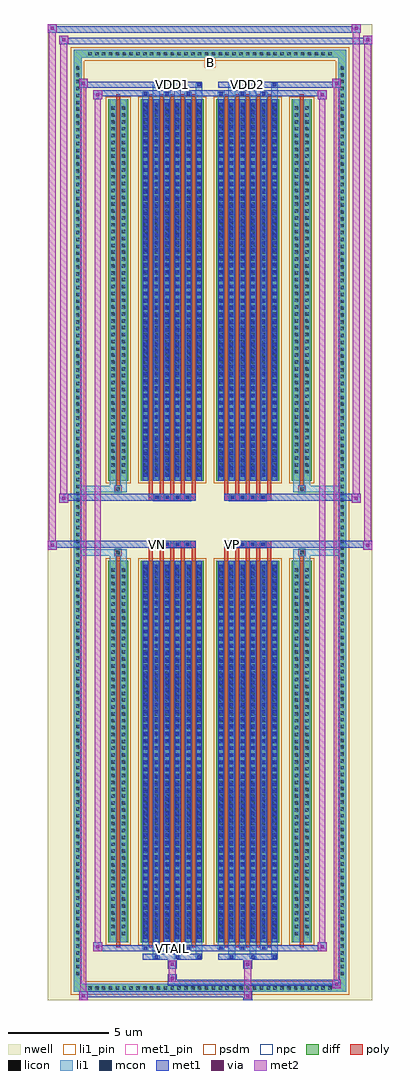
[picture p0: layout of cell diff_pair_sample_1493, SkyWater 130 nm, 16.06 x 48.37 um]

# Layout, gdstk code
import gdstk
lib = gdstk.Library(unit=1e-6, precision=5e-09)
def R(c, l, rs):  # rectangles x0, y0, x1, y1
    for r in rs: c.add(gdstk.rectangle(r[:2], r[2:], *l))
def A(c, l, x, y, w, h, nx, ny, dx, dy):  # array of equal rectangles
    R(c, l, [(x+i*dx, y+j*dy, x+i*dx+w, y+j*dy+h) for i in range(nx) for j in range(ny)])
def P(c, l, *ps):  # polygons
    for p in ps: c.add(gdstk.Polygon(p, *l))
nwell = (64, 20)
diff = (65, 20)
poly = (66, 20)
licon = (66, 44)
li1_pin = (67, 16)
li1 = (67, 20)
mcon = (67, 44)
met1_pin = (68, 16)
met1 = (68, 20)
via = (68, 44)
met2 = (69, 20)
psdm = (94, 20)
npc = (95, 20)

diff_pair_sample_1493 = lib.new_cell('diff_pair_sample_1493')
R(diff_pair_sample_1493, nwell, [(-8.03,-23.75,8.03,24.62), (-5.35,-21.94,-0.01,-0.8), (0.01,-21.94,5.35,-0.8), (-5.35,0.8,-0.01,21.94), (0.01,0.8,5.35,21.94)])
A(diff_pair_sample_1493, diff, -6.155, -23.35, 0.41, 0.41, 36, 2, 0.34, 46.29)
A(diff_pair_sample_1493, diff, -6.76, -22.645, 0.41, 0.41, 1, 133, 0, 0.34)
A(diff_pair_sample_1493, diff, 6.35, -22.645, 0.41, 0.41, 1, 133, 0, 0.34)
R(diff_pair_sample_1493, diff, [(-6.155,-23.35,6.155,-22.94), (-6.76,-22.645,-6.35,22.645), (6.35,-22.645,6.76,22.645), (-5.04,-20.895,-4.06,-1.985), (-3.42,-20.895,-0.32,-1.985), (0.32,-20.895,3.42,-1.985), (4.06,-20.895,5.04,-1.985), (-5.04,1.985,-4.06,20.895), (-3.42,1.985,-0.32,20.895), (0.32,1.985,3.42,20.895), (4.06,1.985,5.04,20.895), (-6.155,22.94,6.155,23.35)])
P(diff_pair_sample_1493, diff, [(6.76,23.35),(-6.76,23.35),(-6.76,-22.94),(-6.35,-22.94),(-6.35,22.94),(6.35,22.94),(6.35,-22.94),(-6.35,-22.94),(-6.76,-22.94),(-6.76,-23.35),(6.76,-23.35)])
A(diff_pair_sample_1493, poly, -3.03, -21.145, 0.2, 19.41, 5, 2, 0.53, 22.88)
A(diff_pair_sample_1493, poly, 0.71, -21.145, 0.2, 19.41, 5, 2, 0.53, 22.88)
A(diff_pair_sample_1493, poly, -3.03, -1.735, 0.2, 0.405, 5, 2, 0.53, 3.065)
A(diff_pair_sample_1493, poly, 0.71, -1.735, 0.2, 0.405, 5, 2, 0.53, 3.065)
A(diff_pair_sample_1493, poly, -2.785, -1.33, 0.33, 0.33, 4, 2, 0.5, 2.33)
A(diff_pair_sample_1493, poly, 0.955, -1.33, 0.33, 0.33, 4, 2, 0.5, 2.33)
R(diff_pair_sample_1493, poly, [(-4.65,-21.145,-4.45,-1.735), (4.45,-21.145,4.65,-1.735), (-4.715,-1.735,-4.385,-1.405), (-4.715,-1.735,-4.385,-1.405), (4.385,-1.735,4.715,-1.405), (4.385,-1.735,4.715,-1.405), (-3.03,-1.33,-0.71,-1), (0.71,-1.33,3.03,-1), (-3.03,1,-0.71,1.33), (0.71,1,3.03,1.33), (-4.715,1.405,-4.385,1.735), (-4.715,1.405,-4.385,1.735), (4.385,1.405,4.715,1.735), (4.385,1.405,4.715,1.735), (-4.65,1.735,-4.45,21.145), (4.45,1.735,4.65,21.145)])
A(diff_pair_sample_1493, licon, -6.035, -23.23, 0.17, 0.17, 36, 2, 0.34, 46.29)
A(diff_pair_sample_1493, licon, -6.64, -22.525, 0.17, 0.17, 1, 133, 0, 0.34)
A(diff_pair_sample_1493, licon, 6.47, -22.525, 0.17, 0.17, 1, 133, 0, 0.34)
A(diff_pair_sample_1493, licon, -4.9, -20.535, 0.17, 0.17, 1, 54, 0, 0.34)
A(diff_pair_sample_1493, licon, -4.37, -20.535, 0.17, 0.17, 1, 54, 0, 0.34)
A(diff_pair_sample_1493, licon, -3.28, -20.535, 0.17, 0.17, 6, 54, 0.53, 0.34)
A(diff_pair_sample_1493, licon, 0.46, -20.535, 0.17, 0.17, 6, 54, 0.53, 0.34)
A(diff_pair_sample_1493, licon, 4.2, -20.535, 0.17, 0.17, 1, 54, 0, 0.34)
A(diff_pair_sample_1493, licon, 4.73, -20.535, 0.17, 0.17, 1, 54, 0, 0.34)
A(diff_pair_sample_1493, licon, -2.705, -1.25, 0.17, 0.17, 4, 2, 0.5, 2.33)
A(diff_pair_sample_1493, licon, 1.035, -1.25, 0.17, 0.17, 4, 2, 0.5, 2.33)
A(diff_pair_sample_1493, licon, -4.9, 2.345, 0.17, 0.17, 1, 54, 0, 0.34)
A(diff_pair_sample_1493, licon, -4.37, 2.345, 0.17, 0.17, 1, 54, 0, 0.34)
A(diff_pair_sample_1493, licon, -3.28, 2.345, 0.17, 0.17, 6, 54, 0.53, 0.34)
A(diff_pair_sample_1493, licon, 0.46, 2.345, 0.17, 0.17, 6, 54, 0.53, 0.34)
A(diff_pair_sample_1493, licon, 4.2, 2.345, 0.17, 0.17, 1, 54, 0, 0.34)
A(diff_pair_sample_1493, licon, 4.73, 2.345, 0.17, 0.17, 1, 54, 0, 0.34)
R(diff_pair_sample_1493, licon, [(-4.635,-1.655,-4.465,-1.485), (4.465,-1.655,4.635,-1.485), (-4.635,1.485,-4.465,1.655), (4.465,1.485,4.635,1.655)])
R(diff_pair_sample_1493, li1_pin, [(-0.25,22.44,0.25,22.94)])
A(diff_pair_sample_1493, li1, -6.115, -23.31, 0.33, 0.33, 36, 2, 0.34, 46.29)
A(diff_pair_sample_1493, li1, -6.72, -22.605, 0.33, 0.33, 1, 133, 0, 0.34)
A(diff_pair_sample_1493, li1, 6.39, -22.605, 0.33, 0.33, 1, 133, 0, 0.34)
A(diff_pair_sample_1493, li1, -2.83, -21.7, 0.33, 0.805, 3, 2, 1.06, 42.595)
A(diff_pair_sample_1493, li1, -2.75, -21.7, 0.17, 0.17, 3, 2, 1.06, 43.23)
A(diff_pair_sample_1493, li1, 0.91, -21.7, 0.33, 0.805, 3, 2, 1.06, 42.595)
A(diff_pair_sample_1493, li1, 0.99, -21.7, 0.17, 0.17, 3, 2, 1.06, 43.23)
A(diff_pair_sample_1493, li1, -3.36, -21.27, 0.33, 0.375, 3, 2, 1.06, 42.165)
A(diff_pair_sample_1493, li1, -3.28, -21.27, 0.17, 0.17, 3, 2, 1.06, 42.37)
A(diff_pair_sample_1493, li1, 0.38, -21.27, 0.33, 0.375, 3, 2, 1.06, 42.165)
A(diff_pair_sample_1493, li1, 0.46, -21.27, 0.17, 0.17, 3, 2, 1.06, 42.37)
A(diff_pair_sample_1493, li1, -3.36, -20.895, 0.33, 18.91, 6, 2, 0.53, 22.88)
A(diff_pair_sample_1493, li1, 0.38, -20.895, 0.33, 18.91, 6, 2, 0.53, 22.88)
A(diff_pair_sample_1493, li1, -3.28, -20.705, 0.17, 0.17, 6, 52, 0.53, 0.36)
A(diff_pair_sample_1493, li1, -3.28, -20.705, 0.17, 18.53, 6, 2, 0.53, 22.88)
A(diff_pair_sample_1493, li1, 0.46, -20.705, 0.17, 0.17, 6, 52, 0.53, 0.36)
A(diff_pair_sample_1493, li1, 0.46, -20.705, 0.17, 18.53, 6, 2, 0.53, 22.88)
A(diff_pair_sample_1493, li1, -4.98, -20.615, 0.33, 0.33, 1, 54, 0, 0.34)
A(diff_pair_sample_1493, li1, -4.45, -20.615, 0.33, 0.33, 1, 54, 0, 0.34)
A(diff_pair_sample_1493, li1, -3.36, -20.615, 0.33, 0.33, 6, 54, 0.53, 0.34)
A(diff_pair_sample_1493, li1, 0.38, -20.615, 0.33, 0.33, 6, 54, 0.53, 0.34)
A(diff_pair_sample_1493, li1, 4.12, -20.615, 0.33, 0.33, 1, 54, 0, 0.34)
A(diff_pair_sample_1493, li1, 4.65, -20.615, 0.33, 0.33, 1, 54, 0, 0.34)
A(diff_pair_sample_1493, li1, -2.785, -1.33, 0.33, 0.33, 4, 2, 0.5, 2.33)
A(diff_pair_sample_1493, li1, 0.955, -1.33, 0.33, 0.33, 4, 2, 0.5, 2.33)
A(diff_pair_sample_1493, li1, -3.28, 2.175, 0.17, 0.17, 6, 52, 0.53, 0.36)
A(diff_pair_sample_1493, li1, 0.46, 2.175, 0.17, 0.17, 6, 52, 0.53, 0.36)
A(diff_pair_sample_1493, li1, -4.98, 2.265, 0.33, 0.33, 1, 54, 0, 0.34)
A(diff_pair_sample_1493, li1, -4.45, 2.265, 0.33, 0.33, 1, 54, 0, 0.34)
A(diff_pair_sample_1493, li1, -3.36, 2.265, 0.33, 0.33, 6, 54, 0.53, 0.34)
A(diff_pair_sample_1493, li1, 0.38, 2.265, 0.33, 0.33, 6, 54, 0.53, 0.34)
A(diff_pair_sample_1493, li1, 4.12, 2.265, 0.33, 0.33, 1, 54, 0, 0.34)
A(diff_pair_sample_1493, li1, 4.65, 2.265, 0.33, 0.33, 1, 54, 0, 0.34)
R(diff_pair_sample_1493, li1, [(-6.76,-23.35,-6.35,-22.94), (-6.76,-23.35,-6.35,-22.94), (-6.35,-23.35,6.35,-22.94), (6.35,-23.35,6.76,-22.94), (6.35,-23.35,6.76,-22.94), (-6.76,-22.94,-6.35,22.94), (6.35,-22.94,6.76,22.94), (-4.98,-20.895,-4.65,-1.985), (-4.45,-20.895,-4.12,-1.985), (4.12,-20.895,4.45,-1.985), (4.65,-20.895,4.98,-1.985), (-4.98,-1.985,-4.65,-1.405), (-4.45,-1.985,-4.12,-1.405), (4.12,-1.985,4.45,-1.405), (4.65,-1.985,4.98,-1.405), (-6.76,-1.735,-4.715,-1.405), (-4.98,-1.735,-4.715,-1.405), (-4.715,-1.735,-4.385,-1.405), (-4.385,-1.735,-4.12,-1.405), (4.12,-1.735,4.385,-1.405), (4.385,-1.735,4.715,-1.405), (4.385,-1.735,6.76,-1.405), (4.715,-1.735,4.98,-1.405), (-6.76,1.405,-4.715,1.735), (-4.98,1.405,-4.715,1.735), (-4.98,1.405,-4.65,1.985), (-4.715,1.405,-4.385,1.735), (-4.45,1.405,-4.12,1.985), (-4.385,1.405,-4.12,1.735), (4.12,1.405,4.385,1.735), (4.12,1.405,4.45,1.985), (4.385,1.405,4.715,1.735), (4.385,1.405,6.76,1.735), (4.65,1.405,4.98,1.985), (4.715,1.405,4.98,1.735), (-4.98,1.985,-4.65,20.895), (-4.45,1.985,-4.12,20.895), (4.12,1.985,4.45,20.895), (4.65,1.985,4.98,20.895), (-6.76,22.94,-6.35,23.35), (-6.76,22.94,-6.35,23.35), (-6.35,22.94,6.35,23.35), (6.35,22.94,6.76,23.35), (6.35,22.94,6.76,23.35)])
A(diff_pair_sample_1493, mcon, -2.75, -21.7, 0.17, 0.17, 3, 2, 1.06, 43.23)
A(diff_pair_sample_1493, mcon, 0.99, -21.7, 0.17, 0.17, 3, 2, 1.06, 43.23)
A(diff_pair_sample_1493, mcon, -3.28, -21.27, 0.17, 0.17, 3, 2, 1.06, 42.37)
A(diff_pair_sample_1493, mcon, 0.46, -21.27, 0.17, 0.17, 3, 2, 1.06, 42.37)
A(diff_pair_sample_1493, mcon, -3.28, -20.705, 0.17, 0.17, 6, 52, 0.53, 0.36)
A(diff_pair_sample_1493, mcon, 0.46, -20.705, 0.17, 0.17, 6, 52, 0.53, 0.36)
A(diff_pair_sample_1493, mcon, -2.705, -1.25, 0.17, 0.17, 4, 2, 0.5, 2.33)
A(diff_pair_sample_1493, mcon, 1.035, -1.25, 0.17, 0.17, 4, 2, 0.5, 2.33)
A(diff_pair_sample_1493, mcon, -3.28, 2.175, 0.17, 0.17, 6, 52, 0.53, 0.36)
A(diff_pair_sample_1493, mcon, 0.46, 2.175, 0.17, 0.17, 6, 52, 0.53, 0.36)
R(diff_pair_sample_1493, met1_pin, [(-2.005,-21.31,-1.735,-21.04), (-2.755,-1.29,-2.485,-1.02), (0.985,-1.29,1.255,-1.02), (-2.005,21.49,-1.735,21.76), (1.735,21.49,2.005,21.76)])
A(diff_pair_sample_1493, met1, -2.81, -21.76, 0.29, 0.29, 3, 2, 1.06, 43.23)
A(diff_pair_sample_1493, met1, 0.93, -21.76, 0.29, 0.29, 3, 2, 1.06, 43.23)
A(diff_pair_sample_1493, met1, -3.34, -21.33, 0.29, 0.29, 3, 2, 1.06, 42.37)
A(diff_pair_sample_1493, met1, 0.4, -21.33, 0.29, 0.29, 3, 2, 1.06, 42.37)
A(diff_pair_sample_1493, met1, -3.34, -20.895, 0.29, 18.91, 6, 2, 0.53, 22.88)
A(diff_pair_sample_1493, met1, 0.4, -20.895, 0.29, 18.91, 6, 2, 0.53, 22.88)
A(diff_pair_sample_1493, met1, -3.34, -20.765, 0.29, 0.29, 6, 52, 0.53, 0.36)
A(diff_pair_sample_1493, met1, 0.4, -20.765, 0.29, 0.29, 6, 52, 0.53, 0.36)
A(diff_pair_sample_1493, met1, -2.765, -1.31, 0.29, 0.29, 4, 2, 0.5, 2.33)
A(diff_pair_sample_1493, met1, 0.975, -1.31, 0.29, 0.29, 4, 2, 0.5, 2.33)
A(diff_pair_sample_1493, met1, -3.34, 2.115, 0.29, 0.29, 6, 52, 0.53, 0.36)
A(diff_pair_sample_1493, met1, 0.4, 2.115, 0.29, 0.29, 6, 52, 0.53, 0.36)
R(diff_pair_sample_1493, met1, [(-6.49,-23.75,-6.06,-23.32), (1.655,-23.75,2.085,-23.32), (-6.49,-23.61,2.085,-23.32), (6.06,-23.18,6.49,-22.75), (-2.085,-23.04,6.49,-22.75), (-2.085,-22.9,-1.655,-22.47), (-2.085,-22.19,-1.655,-21.76), (1.655,-22.19,2.085,-21.76), (-3.34,-21.76,-0.4,-21.47), (0.4,-21.76,3.34,-21.47), (-5.78,-21.33,-5.35,-20.9), (-5.78,-21.33,-3.34,-21.04), (-3.34,-21.33,-0.4,-21.04), (-0.4,-21.33,0.4,-21.04), (0.4,-21.33,3.34,-21.04), (3.34,-21.33,5.78,-21.04), (5.35,-21.33,5.78,-20.9), (-8.03,-1.43,-7.6,-1), (7.6,-1.43,8.03,-1), (-8.03,-1.33,-0.71,-1), (-3.03,-1.33,-0.71,-1), (0.71,-1.33,3.03,-1), (0.71,-1.33,8.03,-1), (-7.46,0.9,-7.03,1.33), (7.03,0.9,7.46,1.33), (-7.46,1,-3.03,1.33), (-3.03,1,-0.71,1.33), (0.71,1,3.03,1.33), (3.03,1,7.46,1.33), (-5.78,20.9,-5.35,21.33), (5.35,20.9,5.78,21.33), (-5.78,21.04,-3.34,21.33), (-3.34,21.04,-0.4,21.33), (-0.4,21.04,0.4,21.33), (0.4,21.04,3.34,21.33), (3.34,21.04,5.78,21.33), (-6.49,21.47,-6.06,21.9), (-6.49,21.47,-3.34,21.76), (-3.34,21.47,-0.4,21.76), (0.4,21.47,3.34,21.76), (3.34,21.47,6.49,21.76), (6.06,21.47,6.49,21.9), (-7.46,23.62,-7.03,24.05), (-7.46,23.62,-5.35,23.95), (-5.35,23.62,5.35,23.95), (5.35,23.62,8.03,23.95), (7.6,23.62,8.03,24.05), (-8.03,24.19,-7.6,24.62), (-8.03,24.19,-5.35,24.52), (-5.35,24.19,5.35,24.52), (5.35,24.19,7.46,24.52), (7.03,24.19,7.46,24.62)])
R(diff_pair_sample_1493, via, [(-6.35,-23.61,-6.2,-23.46), (1.795,-23.61,1.945,-23.46), (6.2,-23.04,6.35,-22.89), (-1.945,-22.76,-1.795,-22.61), (-1.945,-22.05,-1.795,-21.9), (1.795,-22.05,1.945,-21.9), (-5.64,-21.19,-5.49,-21.04), (5.49,-21.19,5.64,-21.04), (-7.89,-1.29,-7.74,-1.14), (7.74,-1.29,7.89,-1.14), (-7.32,1.04,-7.17,1.19), (7.17,1.04,7.32,1.19), (-5.64,21.04,-5.49,21.19), (5.49,21.04,5.64,21.19), (-6.35,21.61,-6.2,21.76), (6.2,21.61,6.35,21.76), (-7.32,23.76,-7.17,23.91), (7.74,23.76,7.89,23.91), (-7.89,24.33,-7.74,24.48), (7.17,24.33,7.32,24.48)])
R(diff_pair_sample_1493, met2, [(-6.49,-23.75,-6.06,-23.32), (-6.42,-23.75,-6.13,21.9), (-6.13,-23.75,-6.06,-23.32), (-6.44,-23.7,-6.11,-23.37), (1.705,-23.7,2.035,-23.37), (1.705,-23.37,2.035,-22.14), (6.06,-23.18,6.49,-22.75), (6.13,-23.18,6.42,21.9), (6.42,-23.18,6.49,-22.75), (6.11,-23.13,6.44,-22.8), (-2.035,-22.85,-1.705,-22.52), (-2.035,-22.52,-1.705,-22.14), (-2.035,-22.14,-1.705,-21.81), (1.705,-22.14,2.035,-21.81), (-5.78,-21.33,-5.35,-20.9), (-5.71,-21.33,-5.42,21.33), (-5.42,-21.33,-5.35,-20.9), (5.35,-21.33,5.78,-20.9), (5.42,-21.33,5.71,21.33), (5.71,-21.33,5.78,-20.9), (-5.73,-21.28,-5.4,-20.95), (5.4,-21.28,5.73,-20.95), (-8.03,-1.43,-7.6,-1), (-7.98,-1.43,-7.65,24.62), (-7.65,-1.43,-7.6,-1), (7.6,-1.43,8.03,-1), (7.65,-1.43,7.98,24.05), (7.98,-1.43,8.03,-1), (-7.98,-1.38,-7.65,-1.05), (7.65,-1.38,7.98,-1.05), (-7.46,0.9,-7.03,1.33), (-7.41,0.9,-7.08,24.05), (-7.08,0.9,-7.03,1.33), (7.03,0.9,7.46,1.33), (7.08,0.9,7.41,24.62), (7.41,0.9,7.46,1.33), (-7.41,0.95,-7.08,1.28), (7.08,0.95,7.41,1.28), (-5.78,20.9,-5.35,21.33), (-5.42,20.9,-5.35,21.33), (5.35,20.9,5.78,21.33), (5.71,20.9,5.78,21.33), (-5.73,20.95,-5.4,21.28), (5.4,20.95,5.73,21.28), (-6.49,21.47,-6.06,21.9), (-6.13,21.47,-6.06,21.9), (6.06,21.47,6.49,21.9), (6.42,21.47,6.49,21.9), (-6.44,21.52,-6.11,21.85), (6.11,21.52,6.44,21.85), (-7.46,23.62,-7.03,24.05), (-7.08,23.62,-7.03,24.05), (7.6,23.62,8.03,24.05), (7.98,23.62,8.03,24.05), (-7.41,23.67,-7.08,24), (7.65,23.67,7.98,24), (-8.03,24.19,-7.6,24.62), (-7.65,24.19,-7.6,24.62), (7.03,24.19,7.46,24.62), (7.41,24.19,7.46,24.62), (-7.98,24.24,-7.65,24.57), (7.08,24.24,7.41,24.57)])
R(diff_pair_sample_1493, psdm, [(-5.17,-21.025,-3.93,-1.855), (-3.55,-21.025,-0.19,-1.855), (0.19,-21.025,3.55,-1.855), (3.93,-21.025,5.17,-1.855), (-5.17,1.855,-3.93,21.025), (-3.55,1.855,-0.19,21.025), (0.19,1.855,3.55,21.025), (3.93,1.855,5.17,21.025)])
P(diff_pair_sample_1493, psdm, [(6.89,23.48),(-6.89,23.48),(-6.89,-22.81),(-6.22,-22.81),(-6.22,22.81),(6.22,22.81),(6.22,-22.81),(-6.22,-22.81),(-6.89,-22.81),(-6.89,-23.48),(6.89,-23.48)])
A(diff_pair_sample_1493, npc, -2.805, -1.35, 0.37, 0.37, 4, 2, 0.5, 2.33)
A(diff_pair_sample_1493, npc, 0.935, -1.35, 0.37, 0.37, 4, 2, 0.5, 2.33)
R(diff_pair_sample_1493, npc, [(-4.735,-1.755,-4.365,-1.385), (4.365,-1.755,4.735,-1.385), (-2.805,-1.35,-1.935,-0.98), (-2.805,-1.35,-1.935,-0.98), (-2.305,-1.35,-1.435,-0.98), (-2.305,-1.35,-1.435,-0.98), (-1.805,-1.35,-0.935,-0.98), (-1.805,-1.35,-0.935,-0.98), (0.935,-1.35,1.805,-0.98), (0.935,-1.35,1.805,-0.98), (1.435,-1.35,2.305,-0.98), (1.435,-1.35,2.305,-0.98), (1.935,-1.35,2.805,-0.98), (1.935,-1.35,2.805,-0.98), (-2.805,0.98,-1.935,1.35), (-2.805,0.98,-1.935,1.35), (-2.305,0.98,-1.435,1.35), (-2.305,0.98,-1.435,1.35), (-1.805,0.98,-0.935,1.35), (-1.805,0.98,-0.935,1.35), (0.935,0.98,1.805,1.35), (0.935,0.98,1.805,1.35), (1.435,0.98,2.305,1.35), (1.435,0.98,2.305,1.35), (1.935,0.98,2.805,1.35), (1.935,0.98,2.805,1.35), (-4.735,1.385,-4.365,1.755), (4.365,1.385,4.735,1.755)])
diff_pair_sample_1493.add(gdstk.Label('VTAIL', (-1.87,-21.175), layer=68, texttype=5))
diff_pair_sample_1493.add(gdstk.Label('VN', (-2.62,-1.155), layer=68, texttype=5))
diff_pair_sample_1493.add(gdstk.Label('VP', (1.12,-1.155), layer=68, texttype=5))
diff_pair_sample_1493.add(gdstk.Label('B', (0,22.69), layer=67, texttype=5))
diff_pair_sample_1493.add(gdstk.Label('VDD2', (1.87,21.625), layer=68, texttype=5))
diff_pair_sample_1493.add(gdstk.Label('VDD1', (-1.87,21.625), layer=68, texttype=5))

lib.write_gds('diff_pair_sample_1493.gds')
